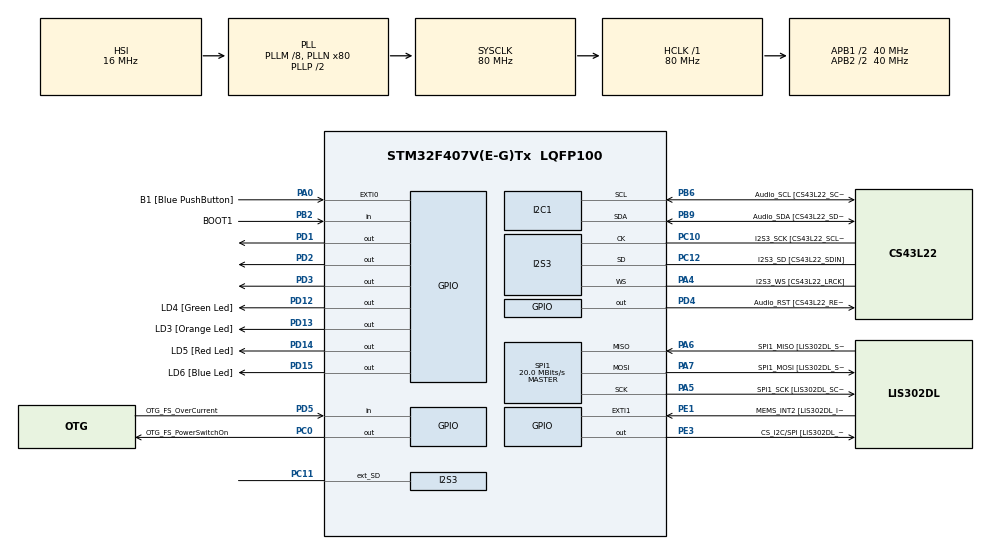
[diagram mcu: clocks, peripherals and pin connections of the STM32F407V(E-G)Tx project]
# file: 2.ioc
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I2S3.AudioFreq=I2S_AUDIOFREQ_8K
I2S3.ErrorAudioFreq=0.15 %
I2S3.FullDuplexMode=I2S_FULLDUPLEXMODE_ENABLE
I2S3.Instance=SPI$Index
I2S3.RealAudioFreq=8.012 KHz
I2S3.VirtualMode=I2S_MODE_MASTER
Mcu.Family=STM32F4
Mcu.Name=STM32F407V(E-G)Tx
Mcu.Package=LQFP100
NVIC.PriorityGroup=NVIC_PRIORITYGROUP_0
NVIC.RCC_IRQn=true\:0\:0\:false\:false\:true
NVIC.TIM8_BRK_TIM12_IRQn=true\:0\:0\:false\:false\:true
PA0-WKUP.GPIO_Label=B1 [Blue PushButton]
PA0-WKUP.GPIO_ModeDefaultEXTI=GPIO_MODE_EVT_RISING
PA0-WKUP.GPIO_PuPd=GPIO_NOPULL
PA0-WKUP.Signal=GPXTI0
PA10.GPIO_Label=OTG_FS_ID
PA10.GPIO_Mode=GPIO_MODE_AF_PP
PA10.GPIO_PuPd=GPIO_NOPULL
PA10.GPIO_Speed=GPIO_SPEED_FREQ_LOW
PA10.Signal=USB_OTG_FS_ID
PA11.GPIO_Label=OTG_FS_DM
PA11.GPIO_Mode=GPIO_MODE_AF_PP
PA11.GPIO_PuPd=GPIO_NOPULL
PA11.GPIO_Speed=GPIO_SPEED_FREQ_LOW
PA11.Signal=USB_OTG_FS_DM
PA12.GPIO_Label=OTG_FS_DP
PA12.GPIO_Mode=GPIO_MODE_AF_PP
PA12.GPIO_PuPd=GPIO_NOPULL
PA12.GPIO_Speed=GPIO_SPEED_FREQ_LOW
PA12.Signal=USB_OTG_FS_DP
PA13.GPIO_Label=SWDIO
PA13.Signal=SYS_JTMS-SWDIO
PA14.GPIO_Label=SWCLK
PA14.Signal=SYS_JTCK-SWCLK
PA4.GPIO_Label=I2S3_WS [CS43L22_LRCK]
PA4.GPIO_Mode=GPIO_MODE_AF_PP
PA4.GPIO_PuPd=GPIO_NOPULL
PA4.GPIO_Speed=GPIO_SPEED_FREQ_LOW
PA4.Mode=Full_Duplex_Master
PA4.Signal=I2S3_WS
PA5.GPIO_Label=SPI1_SCK [LIS302DL_SCL/SPC]
PA5.GPIO_Mode=GPIO_MODE_AF_PP
PA5.GPIO_PuPd=GPIO_NOPULL
PA5.GPIO_Speed=GPIO_SPEED_FREQ_LOW
PA5.Mode=Full_Duplex_Master
PA5.Signal=SPI1_SCK
PA6.GPIO_Label=SPI1_MISO [LIS302DL_SDO]
PA6.GPIO_Mode=GPIO_MODE_AF_PP
PA6.GPIO_PuPd=GPIO_NOPULL
PA6.GPIO_Speed=GPIO_SPEED_FREQ_LOW
PA6.Mode=Full_Duplex_Master
PA6.Signal=SPI1_MISO
PA7.GPIO_Label=SPI1_MOSI [LIS302DL_SDA/SDI/SDO]
PA7.GPIO_Mode=GPIO_MODE_AF_PP
PA7.GPIO_PuPd=GPIO_NOPULL
PA7.GPIO_Speed=GPIO_SPEED_FREQ_LOW
PA7.Mode=Full_Duplex_Master
PA7.Signal=SPI1_MOSI
PA9.GPIO_Label=VBUS_FS
PA9.GPIO_Mode=GPIO_MODE_INPUT
PA9.GPIO_PuPd=GPIO_NOPULL
PA9.Signal=USB_OTG_FS_VBUS
PB10.GPIO_Label=CLK_IN [MP45DT02_CLK]
PB10.GPIO_Mode=GPIO_MODE_AF_PP
PB10.GPIO_PuPd=GPIO_NOPULL
PB10.GPIO_Speed=GPIO_SPEED_FREQ_LOW
PB10.Signal=I2S2_CK
PB2.GPIO_Label=BOOT1
PB2.GPIO_Mode=GPIO_MODE_INPUT
PB2.GPIO_PuPd=GPIO_NOPULL
PB2.Signal=GPIO_Input
PB3.GPIO_Label=SWO
PB3.Signal=SYS_JTDO-SWO
PB6.GPIO_Label=Audio_SCL [CS43L22_SCL]
PB6.GPIO_Mode=GPIO_MODE_AF_OD
PB6.GPIO_PuPd=GPIO_NOPULL
PB6.GPIO_Speed=GPIO_SPEED_FREQ_LOW
PB6.Mode=I2C
PB6.Signal=I2C1_SCL
PB9.GPIO_Label=Audio_SDA [CS43L22_SDA]
PB9.GPIO_Mode=GPIO_MODE_AF_OD
PB9.GPIO_PuPd=GPIO_NOPULL
PB9.GPIO_Speed=GPIO_SPEED_FREQ_LOW
PB9.Mode=I2C
PB9.Signal=I2C1_SDA
PC0.GPIO_Label=OTG_FS_PowerSwitchOn
PC0.GPIO_PuPd=GPIO_NOPULL
PC0.GPIO_Speed=GPIO_SPEED_FREQ_LOW
PC0.PinState=GPIO_PIN_SET
PC0.Signal=GPIO_Output
PC10.GPIO_Label=I2S3_SCK [CS43L22_SCLK]
PC10.GPIO_Mode=GPIO_MODE_AF_PP
PC10.GPIO_PuPd=GPIO_NOPULL
PC10.GPIO_Speed=GPIO_SPEED_FREQ_LOW
PC10.Mode=Full_Duplex_Master
PC10.Signal=I2S3_CK
PC11.Mode=Full_Duplex_Master
PC11.Signal=I2S3_ext_SD
PC12.GPIO_Label=I2S3_SD [CS43L22_SDIN]
PC12.GPIO_Mode=GPIO_MODE_AF_PP
PC12.GPIO_PuPd=GPIO_NOPULL
PC12.GPIO_Speed=GPIO_SPEED_FREQ_LOW
PC12.Mode=Full_Duplex_Master
PC12.Signal=I2S3_SD
PC14-OSC32_IN.GPIO_Label=PC14-OSC32_IN
PC14-OSC32_IN.Signal=RCC_OSC32_IN
PC15-OSC32_OUT.GPIO_Label=PC15-OSC32_OUT
PC15-OSC32_OUT.Signal=RCC_OSC32_OUT
PC3.GPIO_Label=PDM_OUT [MP45DT02_DOUT]
PC3.GPIO_Mode=GPIO_MODE_AF_PP
PC3.GPIO_PuPd=GPIO_NOPULL
PC3.GPIO_Speed=GPIO_SPEED_FREQ_LOW
PC3.Signal=I2S2_SD
PC7.GPIO_Label=I2S3_MCK [CS43L22_MCLK]
PC7.GPIO_Mode=GPIO_MODE_AF_PP
PC7.GPIO_PuPd=GPIO_NOPULL
PC7.GPIO_Speed=GPIO_SPEED_FREQ_LOW
PC7.Signal=I2S3_MCK
PD1.Signal=GPIO_Output
PD12.GPIO_Label=LD4 [Green Led]
PD12.GPIO_PuPd=GPIO_NOPULL
PD12.GPIO_Speed=GPIO_SPEED_FREQ_LOW
PD12.Signal=GPIO_Output
PD13.GPIO_Label=LD3 [Orange Led]
PD13.GPIO_PuPd=GPIO_NOPULL
PD13.GPIO_Speed=GPIO_SPEED_FREQ_LOW
PD13.Signal=GPIO_Output
PD14.GPIO_Label=LD5 [Red Led]
PD14.GPIO_PuPd=GPIO_NOPULL
PD14.GPIO_Speed=GPIO_SPEED_FREQ_LOW
PD14.Signal=GPIO_Output
PD15.GPIO_Label=LD6 [Blue Led]
PD15.GPIO_PuPd=GPIO_NOPULL
PD15.GPIO_Speed=GPIO_SPEED_FREQ_LOW
PD15.Signal=GPIO_Output
PD2.Signal=GPIO_Output
PD3.Signal=GPIO_Output
PD4.GPIO_Label=Audio_RST [CS43L22_RESET]
PD4.GPIO_PuPd=GPIO_NOPULL
PD4.GPIO_Speed=GPIO_SPEED_FREQ_LOW
PD4.Signal=GPIO_Output
PD5.GPIO_Label=OTG_FS_OverCurrent
PD5.GPIO_Mode=GPIO_MODE_INPUT
PD5.GPIO_PuPd=GPIO_NOPULL
PD5.Signal=GPIO_Input
PE1.GPIO_Label=MEMS_INT2 [LIS302DL_INT2]
PE1.GPIO_ModeDefaultEXTI=GPIO_MODE_EVT_RISING
PE1.GPIO_PuPd=GPIO_NOPULL
PE1.Signal=GPXTI1
PE3.GPIO_Label=CS_I2C/SPI [LIS302DL_CS_I2C/SPI]
PE3.GPIO_PuPd=GPIO_NOPULL
PE3.GPIO_Speed=GPIO_SPEED_FREQ_LOW
PE3.Signal=GPIO_Output
PH0-OSC_IN.GPIO_Label=PH0-OSC_IN
PH0-OSC_IN.Signal=RCC_OSC_IN
PH1-OSC_OUT.GPIO_Label=PH1-OSC_OUT
PH1-OSC_OUT.Signal=RCC_OSC_OUT
ProjectManager.HeapSize=0x200
ProjectManager.StackSize=0x400
ProjectManager.TargetToolchain=SW4STM32
RCC.48MHZClocksFreq_Value=22857142.85714286
RCC.AHBFreq_Value=80000000
RCC.APB1CLKDivider=RCC_HCLK_DIV2
RCC.APB1Freq_Value=40000000
RCC.APB1TimFreq_Value=80000000
RCC.APB2CLKDivider=RCC_HCLK_DIV2
RCC.APB2Freq_Value=40000000
RCC.APB2TimFreq_Value=80000000
RCC.CortexFreq_Value=80000000
RCC.HCLKFreq_Value=80000000
RCC.HSE_VALUE=8000000
RCC.HSI_VALUE=16000000
RCC.LSE_VALUE=32768
RCC.PLLI2SN=50
RCC.PLLM=8
RCC.PLLN=80
RCC.PLLQ=7
RCC.SYSCLKFreq_VALUE=80000000
RCC.SYSCLKSource=RCC_SYSCLKSOURCE_PLLCLK
RCC.VCOOutputFreq_Value=160000000
SPI1.CalculateBaudRate=20.0 MBits/s
SPI1.Direction=SPI_DIRECTION_2LINES
SPI1.Mode=SPI_MODE_MASTER
SPI1.VirtualType=VM_MASTER
TIM12.Period=1000
TIM12.Prescaler=80
VP_TIM12_VS_ClockSourceINT.Mode=Internal
board=STM32F4DISCOVERY

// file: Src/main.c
/**
  ******************************************************************************
  * File Name          : main.c
  * Description        : Main program body
  ******************************************************************************
  ** This notice applies to any and all portions of this file
  * that are not between comment pairs USER CODE BEGIN and
  * USER CODE END. Other portions of this file, whether
  * inserted by the user or by software development tools
  * are owned by their respective copyright owners.
  *
  * COPYRIGHT(c) 2017 STMicroelectronics
  *
  * Redistribution and use in source and binary forms, with or without modification,
  * are permitted provided that the following conditions are met:
  *   1. Redistributions of source code must retain the above copyright notice,
  *      this list of conditions and the following disclaimer.
  *   2. Redistributions in binary form must reproduce the above copyright notice,
  *      this list of conditions and the following disclaimer in the documentation
  *      and/or other materials provided with the distribution.
  *   3. Neither the name of STMicroelectronics nor the names of its contributors
  *      may be used to endorse or promote products derived from this software
  *      without specific prior written permission.
  *
  * THIS SOFTWARE IS PROVIDED BY THE COPYRIGHT HOLDERS AND CONTRIBUTORS "AS IS"
  * AND ANY EXPRESS OR IMPLIED WARRANTIES, INCLUDING, BUT NOT LIMITED TO, THE
  * IMPLIED WARRANTIES OF MERCHANTABILITY AND FITNESS FOR A PARTICULAR PURPOSE ARE
  * DISCLAIMED. IN NO EVENT SHALL THE COPYRIGHT HOLDER OR CONTRIBUTORS BE LIABLE
  * FOR ANY DIRECT, INDIRECT, INCIDENTAL, SPECIAL, EXEMPLARY, OR CONSEQUENTIAL
  * DAMAGES (INCLUDING, BUT NOT LIMITED TO, PROCUREMENT OF SUBSTITUTE GOODS OR
  * SERVICES; LOSS OF USE, DATA, OR PROFITS; OR BUSINESS INTERRUPTION) HOWEVER
  * CAUSED AND ON ANY THEORY OF LIABILITY, WHETHER IN CONTRACT, STRICT LIABILITY,
  * OR TORT (INCLUDING NEGLIGENCE OR OTHERWISE) ARISING IN ANY WAY OUT OF THE USE
  * OF THIS SOFTWARE, EVEN IF ADVISED OF THE POSSIBILITY OF SUCH DAMAGE.
  *
  ******************************************************************************
  */
#include "main.h"
#include "stm32f4xx_hal.h"

I2C_HandleTypeDef hi2c1;

I2S_HandleTypeDef hi2s3;

SPI_HandleTypeDef hspi1;

TIM_HandleTypeDef htim12;

/* USER CODE BEGIN PV */
/* Private variables ---------------------------------------------------------*/

/* USER CODE END PV */

void SystemClock_Config(void);
static void MX_GPIO_Init(void);
static void MX_SPI1_Init(void);
static void MX_I2C1_Init(void);
static void MX_I2S3_Init(void);
static void MX_TIM12_Init(void);

/* USER CODE BEGIN PFP */
/* Private function prototypes -----------------------------------------------*/

/* USER CODE END PFP */

/* USER CODE BEGIN 0 */
#define PI 3.14159265
const float alpha = 0.7;
const int fallingtime = 300;
int16_t xyz[3];
float gravity[3];
int16_t output[3];
int16_t x;
int16_t y;
int16_t z;
int16_t axis;
int	R;
float ax;
float ay;
float az;
int fell = 0;

int pressbutton(){
	  return HAL_GPIO_ReadPin(GPIOA, GPIO_PIN_0) == GPIO_PIN_SET;
}

void fall(){
	  HAL_GPIO_WritePin(GPIOD,GPIO_PIN_1,GPIO_PIN_SET);
	  HAL_GPIO_WritePin(GPIOD,GPIO_PIN_14,GPIO_PIN_SET);
	  HAL_GPIO_WritePin(GPIOD,GPIO_PIN_3,GPIO_PIN_SET); // fall
	  fell = 1;
	  HAL_Delay(1000);
		HAL_GPIO_WritePin(GPIOD,GPIO_PIN_3,GPIO_PIN_RESET);
}

void unfall(){
	  HAL_GPIO_WritePin(GPIOD,GPIO_PIN_1,GPIO_PIN_RESET);
	  HAL_GPIO_WritePin(GPIOD,GPIO_PIN_14,GPIO_PIN_RESET);
	  HAL_GPIO_WritePin(GPIOD,GPIO_PIN_3,GPIO_PIN_RESET);
	  HAL_GPIO_WritePin(GPIOD,GPIO_PIN_2,GPIO_PIN_SET); // ok signal
	  HAL_Delay(1000);
	  HAL_GPIO_WritePin(GPIOD,GPIO_PIN_2,GPIO_PIN_RESET); // ok signal
	  fell = 0;
}

void HAL_TIM_PeriodElapsedCallback(TIM_HandleTypeDef *htim){
	  //Nothing here
}

void calvalue(){
	BSP_ACCELERO_GetXYZ(xyz);

	gravity[0] = alpha * gravity[0] + (1 - alpha) * xyz[0];
	gravity[1] = alpha * gravity[1] + (1 - alpha) * xyz[1];
	gravity[2] = alpha * gravity[2] + (1 - alpha) * xyz[2];

	output[0] = xyz[0] - gravity[0];
	output[1] = xyz[1] - gravity[1];
	output[2] = xyz[2] - gravity[2];

	if(output[0] < 0) x = -1*output[0];
	else x = output[0];
	if(output[1] < 0) y = -1*output[1];
	else y = output[1];
	if(output[2] < 0) z = -1*output[2];
	else z = output[2];

}

void calaxis(){
	int max = -9999;
	for(int i = 0 ; i < 3 ; i++){
		if(gravity[i] > max){
			max = gravity[i];
			axis = i;
		}
	}
}

void calangle(){
	R = sqrt(pow(gravity[0],2) + pow(gravity[1],2) + pow(gravity[2],2));
	ax = acos((float) (gravity[0] / R)) * 180 / PI;
	ay = acos((float) (gravity[1] / R)) * 180 / PI;
	az = acos((float) (gravity[2] / R)) * 180 / PI;
}
/* USER CODE END 0 */

int main(void)
{

  /* MCU Configuration----------------------------------------------------------*/

  /* Reset of all peripherals, Initializes the Flash interface and the Systick. */
  HAL_Init();

  /* Configure the system clock */
  SystemClock_Config();

  /* Initialize all configured peripherals */
  MX_GPIO_Init();
  MX_SPI1_Init();
  MX_I2C1_Init();
  MX_I2S3_Init();
  MX_TIM12_Init();

  /* USER CODE BEGIN 2 */
  BSP_ACCELERO_Init();
  int timer = 0;
  HAL_TIM_Base_Start_IT(&htim12);
  int plus = 0;
  /* USER CODE END 2 */

  /* Infinite loop */
  while (1)
  {

  /* USER CODE BEGIN 3 */

	  calvalue();
	  calaxis();
	  calangle();

	  timer = __HAL_TIM_GET_COUNTER(&htim12);

	  if(pressbutton()){
		  unfall();
	  }

	  int lthreshold = 800;
	  int rthreshold = 1000;
	  if(axis == 2 && z > lthreshold && z < rthreshold){
		  while(1){
			  calvalue();
			  calaxis();
			  if(axis == 2 && z < lthreshold) {
				  fall();
				  break;
			  }
			  else if(z > rthreshold) break;
		  }
	  }

	  if(axis == 0 && x > lthreshold && x < rthreshold){
		  while(1){
		  	  calvalue();
	 	      calaxis();
		  	  if(axis == 0 && x < lthreshold) {
		  		  fall();
				  break;
		  	  }
		  	  else if(x > rthreshold) break;
		  }
	  }

	  if(axis == 1 && y > lthreshold && y < rthreshold){
		  while(1){
			  calvalue();
		  	  calaxis();
		  	  if(axis == 1 && y < lthreshold) {
		  		  fall();
		  		  break;
		  	  }
		  	 else if(y > rthreshold) break;
		  }
	  }
  }
  /* USER CODE END 3 */

}

/** System Clock Configuration
*/
void SystemClock_Config(void)
{

  RCC_OscInitTypeDef RCC_OscInitStruct;
  RCC_ClkInitTypeDef RCC_ClkInitStruct;
  RCC_PeriphCLKInitTypeDef PeriphClkInitStruct;

    /**Configure the main internal regulator output voltage
    */
  __HAL_RCC_PWR_CLK_ENABLE();

  __HAL_PWR_VOLTAGESCALING_CONFIG(PWR_REGULATOR_VOLTAGE_SCALE1);

    /**Initializes the CPU, AHB and APB busses clocks
    */
  RCC_OscInitStruct.OscillatorType = RCC_OSCILLATORTYPE_HSI;
  RCC_OscInitStruct.HSIState = RCC_HSI_ON;
  RCC_OscInitStruct.HSICalibrationValue = 16;
  RCC_OscInitStruct.PLL.PLLState = RCC_PLL_ON;
  RCC_OscInitStruct.PLL.PLLSource = RCC_PLLSOURCE_HSI;
  RCC_OscInitStruct.PLL.PLLM = 8;
  RCC_OscInitStruct.PLL.PLLN = 80;
  RCC_OscInitStruct.PLL.PLLP = RCC_PLLP_DIV2;
  RCC_OscInitStruct.PLL.PLLQ = 7;
  if (HAL_RCC_OscConfig(&RCC_OscInitStruct) != HAL_OK)
  {
    _Error_Handler(__FILE__, __LINE__);
  }

    /**Initializes the CPU, AHB and APB busses clocks
    */
  RCC_ClkInitStruct.ClockType = RCC_CLOCKTYPE_HCLK|RCC_CLOCKTYPE_SYSCLK
                              |RCC_CLOCKTYPE_PCLK1|RCC_CLOCKTYPE_PCLK2;
  RCC_ClkInitStruct.SYSCLKSource = RCC_SYSCLKSOURCE_PLLCLK;
  RCC_ClkInitStruct.AHBCLKDivider = RCC_SYSCLK_DIV1;
  RCC_ClkInitStruct.APB1CLKDivider = RCC_HCLK_DIV2;
  RCC_ClkInitStruct.APB2CLKDivider = RCC_HCLK_DIV2;

  if (HAL_RCC_ClockConfig(&RCC_ClkInitStruct, FLASH_LATENCY_2) != HAL_OK)
  {
    _Error_Handler(__FILE__, __LINE__);
  }

  PeriphClkInitStruct.PeriphClockSelection = RCC_PERIPHCLK_I2S;
  PeriphClkInitStruct.PLLI2S.PLLI2SN = 50;
  PeriphClkInitStruct.PLLI2S.PLLI2SR = 2;
  if (HAL_RCCEx_PeriphCLKConfig(&PeriphClkInitStruct) != HAL_OK)
  {
    _Error_Handler(__FILE__, __LINE__);
  }

    /**Configure the Systick interrupt time
    */
  HAL_SYSTICK_Config(HAL_RCC_GetHCLKFreq()/1000);

    /**Configure the Systick
    */
  HAL_SYSTICK_CLKSourceConfig(SYSTICK_CLKSOURCE_HCLK);

  /* SysTick_IRQn interrupt configuration */
  HAL_NVIC_SetPriority(SysTick_IRQn, 0, 0);
}

/* I2C1 init function */
static void MX_I2C1_Init(void)
{

  hi2c1.Instance = I2C1;
  hi2c1.Init.ClockSpeed = 100000;
  hi2c1.Init.DutyCycle = I2C_DUTYCYCLE_2;
  hi2c1.Init.OwnAddress1 = 0;
  hi2c1.Init.AddressingMode = I2C_ADDRESSINGMODE_7BIT;
  hi2c1.Init.DualAddressMode = I2C_DUALADDRESS_DISABLE;
  hi2c1.Init.OwnAddress2 = 0;
  hi2c1.Init.GeneralCallMode = I2C_GENERALCALL_DISABLE;
  hi2c1.Init.NoStretchMode = I2C_NOSTRETCH_DISABLE;
  if (HAL_I2C_Init(&hi2c1) != HAL_OK)
  {
    _Error_Handler(__FILE__, __LINE__);
  }

}

/* I2S3 init function */
static void MX_I2S3_Init(void)
{

  hi2s3.Instance = SPI3;
  hi2s3.Init.Mode = I2S_MODE_MASTER_TX;
  hi2s3.Init.Standard = I2S_STANDARD_PHILIPS;
  hi2s3.Init.DataFormat = I2S_DATAFORMAT_16B;
  hi2s3.Init.MCLKOutput = I2S_MCLKOUTPUT_DISABLE;
  hi2s3.Init.AudioFreq = I2S_AUDIOFREQ_8K;
  hi2s3.Init.CPOL = I2S_CPOL_LOW;
  hi2s3.Init.ClockSource = I2S_CLOCK_PLL;
  hi2s3.Init.FullDuplexMode = I2S_FULLDUPLEXMODE_ENABLE;
  if (HAL_I2S_Init(&hi2s3) != HAL_OK)
  {
    _Error_Handler(__FILE__, __LINE__);
  }

}

/* SPI1 init function */
static void MX_SPI1_Init(void)
{

  hspi1.Instance = SPI1;
  hspi1.Init.Mode = SPI_MODE_MASTER;
  hspi1.Init.Direction = SPI_DIRECTION_2LINES;
  hspi1.Init.DataSize = SPI_DATASIZE_8BIT;
  hspi1.Init.CLKPolarity = SPI_POLARITY_LOW;
  hspi1.Init.CLKPhase = SPI_PHASE_1EDGE;
  hspi1.Init.NSS = SPI_NSS_SOFT;
  hspi1.Init.BaudRatePrescaler = SPI_BAUDRATEPRESCALER_2;
  hspi1.Init.FirstBit = SPI_FIRSTBIT_MSB;
  hspi1.Init.TIMode = SPI_TIMODE_DISABLE;
  hspi1.Init.CRCCalculation = SPI_CRCCALCULATION_DISABLE;
  hspi1.Init.CRCPolynomial = 10;
  if (HAL_SPI_Init(&hspi1) != HAL_OK)
  {
    _Error_Handler(__FILE__, __LINE__);
  }

}

/* TIM12 init function */
static void MX_TIM12_Init(void)
{

  TIM_ClockConfigTypeDef sClockSourceConfig;

  htim12.Instance = TIM12;
  htim12.Init.Prescaler = 80;
  htim12.Init.CounterMode = TIM_COUNTERMODE_UP;
  htim12.Init.Period = 1000;
  htim12.Init.ClockDivision = TIM_CLOCKDIVISION_DIV1;
  if (HAL_TIM_Base_Init(&htim12) != HAL_OK)
  {
    _Error_Handler(__FILE__, __LINE__);
  }

  sClockSourceConfig.ClockSource = TIM_CLOCKSOURCE_INTERNAL;
  if (HAL_TIM_ConfigClockSource(&htim12, &sClockSourceConfig) != HAL_OK)
  {
    _Error_Handler(__FILE__, __LINE__);
  }

}

/** Configure pins as
        * Analog
        * Input
        * Output
        * EVENT_OUT
        * EXTI
     PC3   ------> I2S2_SD
     PB10   ------> I2S2_CK
     PA9   ------> USB_OTG_FS_VBUS
     PA10   ------> USB_OTG_FS_ID
     PA11   ------> USB_OTG_FS_DM
     PA12   ------> USB_OTG_FS_DP
*/
static void MX_GPIO_Init(void)
{

  GPIO_InitTypeDef GPIO_InitStruct;

  /* GPIO Ports Clock Enable */
  __HAL_RCC_GPIOE_CLK_ENABLE();
  __HAL_RCC_GPIOC_CLK_ENABLE();
  __HAL_RCC_GPIOH_CLK_ENABLE();
  __HAL_RCC_GPIOA_CLK_ENABLE();
  __HAL_RCC_GPIOB_CLK_ENABLE();
  __HAL_RCC_GPIOD_CLK_ENABLE();

  /*Configure GPIO pin Output Level */
  HAL_GPIO_WritePin(CS_I2C_SPI_GPIO_Port, CS_I2C_SPI_Pin, GPIO_PIN_RESET);

  /*Configure GPIO pin Output Level */
  HAL_GPIO_WritePin(OTG_FS_PowerSwitchOn_GPIO_Port, OTG_FS_PowerSwitchOn_Pin, GPIO_PIN_SET);

  /*Configure GPIO pin Output Level */
  HAL_GPIO_WritePin(GPIOD, LD4_Pin|LD3_Pin|LD5_Pin|LD6_Pin
                          |GPIO_PIN_1|GPIO_PIN_2|GPIO_PIN_3|Audio_RST_Pin, GPIO_PIN_RESET);

  /*Configure GPIO pin : CS_I2C_SPI_Pin */
  GPIO_InitStruct.Pin = CS_I2C_SPI_Pin;
  GPIO_InitStruct.Mode = GPIO_MODE_OUTPUT_PP;
  GPIO_InitStruct.Pull = GPIO_NOPULL;
  GPIO_InitStruct.Speed = GPIO_SPEED_FREQ_LOW;
  HAL_GPIO_Init(CS_I2C_SPI_GPIO_Port, &GPIO_InitStruct);

  /*Configure GPIO pin : OTG_FS_PowerSwitchOn_Pin */
  GPIO_InitStruct.Pin = OTG_FS_PowerSwitchOn_Pin;
  GPIO_InitStruct.Mode = GPIO_MODE_OUTPUT_PP;
  GPIO_InitStruct.Pull = GPIO_NOPULL;
  GPIO_InitStruct.Speed = GPIO_SPEED_FREQ_LOW;
  HAL_GPIO_Init(OTG_FS_PowerSwitchOn_GPIO_Port, &GPIO_InitStruct);

  /*Configure GPIO pin : PDM_OUT_Pin */
  GPIO_InitStruct.Pin = PDM_OUT_Pin;
  GPIO_InitStruct.Mode = GPIO_MODE_AF_PP;
  GPIO_InitStruct.Pull = GPIO_NOPULL;
  GPIO_InitStruct.Speed = GPIO_SPEED_FREQ_LOW;
  GPIO_InitStruct.Alternate = GPIO_AF5_SPI2;
  HAL_GPIO_Init(PDM_OUT_GPIO_Port, &GPIO_InitStruct);

  /*Configure GPIO pin : B1_Pin */
  GPIO_InitStruct.Pin = B1_Pin;
  GPIO_InitStruct.Mode = GPIO_MODE_EVT_RISING;
  GPIO_InitStruct.Pull = GPIO_NOPULL;
  HAL_GPIO_Init(B1_GPIO_Port, &GPIO_InitStruct);

  /*Configure GPIO pin : BOOT1_Pin */
  GPIO_InitStruct.Pin = BOOT1_Pin;
  GPIO_InitStruct.Mode = GPIO_MODE_INPUT;
  GPIO_InitStruct.Pull = GPIO_NOPULL;
  HAL_GPIO_Init(BOOT1_GPIO_Port, &GPIO_InitStruct);

  /*Configure GPIO pin : CLK_IN_Pin */
  GPIO_InitStruct.Pin = CLK_IN_Pin;
  GPIO_InitStruct.Mode = GPIO_MODE_AF_PP;
  GPIO_InitStruct.Pull = GPIO_NOPULL;
  GPIO_InitStruct.Speed = GPIO_SPEED_FREQ_LOW;
  GPIO_InitStruct.Alternate = GPIO_AF5_SPI2;
  HAL_GPIO_Init(CLK_IN_GPIO_Port, &GPIO_InitStruct);

  /*Configure GPIO pins : LD4_Pin LD3_Pin LD5_Pin LD6_Pin
                           PD1 PD2 PD3 Audio_RST_Pin */
  GPIO_InitStruct.Pin = LD4_Pin|LD3_Pin|LD5_Pin|LD6_Pin
                          |GPIO_PIN_1|GPIO_PIN_2|GPIO_PIN_3|Audio_RST_Pin;
  GPIO_InitStruct.Mode = GPIO_MODE_OUTPUT_PP;
  GPIO_InitStruct.Pull = GPIO_NOPULL;
  GPIO_InitStruct.Speed = GPIO_SPEED_FREQ_LOW;
  HAL_GPIO_Init(GPIOD, &GPIO_InitStruct);

  /*Configure GPIO pin : VBUS_FS_Pin */
  GPIO_InitStruct.Pin = VBUS_FS_Pin;
  GPIO_InitStruct.Mode = GPIO_MODE_INPUT;
  GPIO_InitStruct.Pull = GPIO_NOPULL;
  HAL_GPIO_Init(VBUS_FS_GPIO_Port, &GPIO_InitStruct);

  /*Configure GPIO pins : OTG_FS_ID_Pin OTG_FS_DM_Pin OTG_FS_DP_Pin */
  GPIO_InitStruct.Pin = OTG_FS_ID_Pin|OTG_FS_DM_Pin|OTG_FS_DP_Pin;
  GPIO_InitStruct.Mode = GPIO_MODE_AF_PP;
  GPIO_InitStruct.Pull = GPIO_NOPULL;
  GPIO_InitStruct.Speed = GPIO_SPEED_FREQ_LOW;
  GPIO_InitStruct.Alternate = GPIO_AF10_OTG_FS;
  HAL_GPIO_Init(GPIOA, &GPIO_InitStruct);

  /*Configure GPIO pin : OTG_FS_OverCurrent_Pin */
  GPIO_InitStruct.Pin = OTG_FS_OverCurrent_Pin;
  GPIO_InitStruct.Mode = GPIO_MODE_INPUT;
  GPIO_InitStruct.Pull = GPIO_NOPULL;
  HAL_GPIO_Init(OTG_FS_OverCurrent_GPIO_Port, &GPIO_InitStruct);

  /*Configure GPIO pin : MEMS_INT2_Pin */
  GPIO_InitStruct.Pin = MEMS_INT2_Pin;
  GPIO_InitStruct.Mode = GPIO_MODE_EVT_RISING;
  GPIO_InitStruct.Pull = GPIO_NOPULL;
  HAL_GPIO_Init(MEMS_INT2_GPIO_Port, &GPIO_InitStruct);

}

void _Error_Handler(char * file, int line)
{
  while(1)
  {
  }
}

/************************ (C) COPYRIGHT STMicroelectronics *****END OF FILE****/
